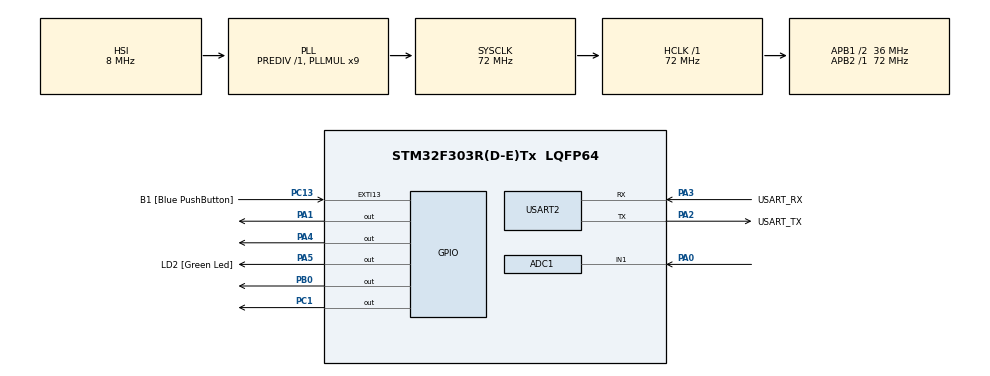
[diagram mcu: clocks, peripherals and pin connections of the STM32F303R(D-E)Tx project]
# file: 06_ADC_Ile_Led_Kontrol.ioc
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ADC1.Channel-1\#ChannelRegularConversion=ADC_CHANNEL_1
ADC1.ClockPrescaler=ADC_CLOCK_SYNC_PCLK_DIV2
ADC1.ContinuousConvMode=ENABLE
ADC1.NbrOfConversionFlag=1
ADC1.Offset-1\#ChannelRegularConversion=0
ADC1.OffsetNumber-1\#ChannelRegularConversion=ADC_OFFSET_NONE
ADC1.Rank-1\#ChannelRegularConversion=1
ADC1.Resolution=ADC_RESOLUTION_8B
ADC1.SamplingTime-1\#ChannelRegularConversion=ADC_SAMPLETIME_4CYCLES_5
ADC1.SamplingTimeOPAMP-1\#ChannelRegularConversion=ADC_SAMPLETIME_61CYCLES_5
ADC1.master=1
Mcu.Family=STM32F3
Mcu.Name=STM32F303R(D-E)Tx
Mcu.Package=LQFP64
NVIC.PriorityGroup=NVIC_PRIORITYGROUP_0
PA0.Mode=IN1-Single-Ended
PA0.Signal=ADC1_IN1
PA1.Signal=GPIO_Output
PA13.GPIO_Label=TMS
PA13.Mode=Serial_Wire
PA13.Signal=SYS_JTMS-SWDIO
PA14.GPIO_Label=TCK
PA14.Mode=Serial_Wire
PA14.Signal=SYS_JTCK-SWCLK
PA2.GPIO_Label=USART_TX
PA2.GPIO_Mode=GPIO_MODE_AF_PP
PA2.GPIO_PuPd=GPIO_NOPULL
PA2.GPIO_Speed=GPIO_SPEED_FREQ_LOW
PA2.Mode=Asynchronous
PA2.Signal=USART2_TX
PA3.GPIO_Label=USART_RX
PA3.GPIO_Mode=GPIO_MODE_AF_PP
PA3.GPIO_PuPd=GPIO_NOPULL
PA3.GPIO_Speed=GPIO_SPEED_FREQ_LOW
PA3.Mode=Asynchronous
PA3.Signal=USART2_RX
PA4.Signal=GPIO_Output
PA5.GPIO_Label=LD2 [Green Led]
PA5.GPIO_Mode=GPIO_MODE_OUTPUT_PP
PA5.GPIO_PuPd=GPIO_NOPULL
PA5.GPIO_Speed=GPIO_SPEED_FREQ_LOW
PA5.Signal=GPIO_Output
PB0.Signal=GPIO_Output
PB3.GPIO_Label=SWO
PB3.Signal=SYS_JTDO-TRACESWO
PC1.Signal=GPIO_Output
PC13.GPIO_Label=B1 [Blue PushButton]
PC13.GPIO_ModeDefaultEXTI=GPIO_MODE_IT_FALLING
PC13.Signal=GPXTI13
PC14-OSC32_IN.Signal=RCC_OSC32_IN
PC15-OSC32_OUT.Signal=RCC_OSC32_OUT
PF0-OSC_IN.Signal=RCC_OSC_IN
PF1-OSC_OUT.Signal=RCC_OSC_OUT
ProjectManager.HeapSize=0x200
ProjectManager.StackSize=0x400
ProjectManager.TargetToolchain=STM32CubeIDE
RCC.AHBFreq_Value=72000000
RCC.APB1CLKDivider=RCC_HCLK_DIV2
RCC.APB1Freq_Value=36000000
RCC.APB1TimFreq_Value=72000000
RCC.APB2Freq_Value=72000000
RCC.APB2TimFreq_Value=72000000
RCC.CortexFreq_Value=72000000
RCC.HCLKFreq_Value=72000000
RCC.HSE_VALUE=8000000
RCC.HSI_VALUE=8000000
RCC.PLLM=8
RCC.PLLMUL=RCC_PLL_MUL9
RCC.PLLN=336
RCC.PLLP=RCC_PLLP_DIV4
RCC.PLLQ=7
RCC.RCC_PLLsource_Clock_Source_FROM_HSE=RCC_HSE_PREDIV_DIV2
RCC.SYSCLKFreq_VALUE=72000000
RCC.SYSCLKSourceVirtual=RCC_SYSCLKSOURCE_PLLCLK
RCC.USBFreq_Value=72000000
USART2.VirtualMode-Asynchronous=VM_ASYNC
board=NUCLEO-F303RE

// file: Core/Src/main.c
/* USER CODE BEGIN Header */
/**
  ******************************************************************************
  * @file           : main.c
  * @brief          : Main program body
  ******************************************************************************
  * @attention
  *
  * Copyright (c) 2026 STMicroelectronics.
  * All rights reserved.
  *
  * This software is licensed under terms that can be found in the LICENSE file
  * in the root directory of this software component.
  * If no LICENSE file comes with this software, it is provided AS-IS.
  *
  ******************************************************************************
  */
/* USER CODE END Header */
#include "main.h"

/* USER CODE BEGIN PD */
#define LED1_PORT GPIOA
#define LED1_PIN  GPIO_PIN_1

#define LED2_PORT GPIOA
#define LED2_PIN  GPIO_PIN_4

#define LED3_PORT GPIOB
#define LED3_PIN  GPIO_PIN_0

#define LED4_PORT GPIOC
#define LED4_PIN  GPIO_PIN_1
/* USER CODE END PD */

ADC_HandleTypeDef hadc1;

UART_HandleTypeDef huart2;

/* USER CODE BEGIN PV */
uint8_t analogValue = 0;
/* USER CODE END PV */

void SystemClock_Config(void);
static void MX_GPIO_Init(void);
static void MX_USART2_UART_Init(void);
static void MX_ADC1_Init(void);

/* USER CODE BEGIN 0 */
uint8_t ReadAdcValue(void)
{
	uint8_t adcValue = 0;
	if(HAL_ADC_Start(&hadc1) == HAL_OK)
	{
		if(HAL_ADC_PollForConversion(&hadc1, 1000) == HAL_OK)
		{
			adcValue = HAL_ADC_GetValue(&hadc1);
		}
		HAL_ADC_Stop(&hadc1);
	}
	return adcValue;
}

void LedOn(uint8_t adcValue)
{
    HAL_GPIO_WritePin(LED1_PORT, LED1_PIN, GPIO_PIN_RESET);
    HAL_GPIO_WritePin(LED2_PORT, LED2_PIN, GPIO_PIN_RESET);
    HAL_GPIO_WritePin(LED3_PORT, LED3_PIN, GPIO_PIN_RESET);
    HAL_GPIO_WritePin(LED4_PORT, LED4_PIN, GPIO_PIN_RESET);

    if(adcValue < 128)
    {
        HAL_GPIO_WritePin(LED1_PORT, LED1_PIN, GPIO_PIN_SET);
        HAL_GPIO_WritePin(LED3_PORT, LED3_PIN, GPIO_PIN_SET);
    }
    else
    {
        HAL_GPIO_WritePin(LED2_PORT, LED2_PIN, GPIO_PIN_SET);
        HAL_GPIO_WritePin(LED4_PORT, LED4_PIN, GPIO_PIN_SET);
    }
}
/* USER CODE END 0 */

int main(void)
{

  /* MCU Configuration--------------------------------------------------------*/

  /* Reset of all peripherals, Initializes the Flash interface and the Systick. */
  HAL_Init();

  /* Configure the system clock */
  SystemClock_Config();

  /* Initialize all configured peripherals */
  MX_GPIO_Init();
  MX_USART2_UART_Init();
  MX_ADC1_Init();

  /* Infinite loop */
  while (1)
  {
	  analogValue = ReadAdcValue();
	  LedOn(analogValue);
  }
}

void SystemClock_Config(void)
{
  RCC_OscInitTypeDef RCC_OscInitStruct = {0};
  RCC_ClkInitTypeDef RCC_ClkInitStruct = {0};
  RCC_PeriphCLKInitTypeDef PeriphClkInit = {0};

  /** Initializes the RCC Oscillators according to the specified parameters
  * in the RCC_OscInitTypeDef structure.
  */
  RCC_OscInitStruct.OscillatorType = RCC_OSCILLATORTYPE_HSI;
  RCC_OscInitStruct.HSIState = RCC_HSI_ON;
  RCC_OscInitStruct.HSICalibrationValue = RCC_HSICALIBRATION_DEFAULT;
  RCC_OscInitStruct.PLL.PLLState = RCC_PLL_ON;
  RCC_OscInitStruct.PLL.PLLSource = RCC_PLLSOURCE_HSI;
  RCC_OscInitStruct.PLL.PLLMUL = RCC_PLL_MUL9;
  RCC_OscInitStruct.PLL.PREDIV = RCC_PREDIV_DIV1;
  if (HAL_RCC_OscConfig(&RCC_OscInitStruct) != HAL_OK)
  {
    Error_Handler();
  }

  /** Initializes the CPU, AHB and APB buses clocks
  */
  RCC_ClkInitStruct.ClockType = RCC_CLOCKTYPE_HCLK|RCC_CLOCKTYPE_SYSCLK
                              |RCC_CLOCKTYPE_PCLK1|RCC_CLOCKTYPE_PCLK2;
  RCC_ClkInitStruct.SYSCLKSource = RCC_SYSCLKSOURCE_PLLCLK;
  RCC_ClkInitStruct.AHBCLKDivider = RCC_SYSCLK_DIV1;
  RCC_ClkInitStruct.APB1CLKDivider = RCC_HCLK_DIV2;
  RCC_ClkInitStruct.APB2CLKDivider = RCC_HCLK_DIV1;

  if (HAL_RCC_ClockConfig(&RCC_ClkInitStruct, FLASH_LATENCY_2) != HAL_OK)
  {
    Error_Handler();
  }
  PeriphClkInit.PeriphClockSelection = RCC_PERIPHCLK_USART2;
  PeriphClkInit.Usart2ClockSelection = RCC_USART2CLKSOURCE_PCLK1;
  if (HAL_RCCEx_PeriphCLKConfig(&PeriphClkInit) != HAL_OK)
  {
    Error_Handler();
  }
}

static void MX_ADC1_Init(void)
{

  ADC_MultiModeTypeDef multimode = {0};
  ADC_ChannelConfTypeDef sConfig = {0};

  /** Common config
  */
  hadc1.Instance = ADC1;
  hadc1.Init.ClockPrescaler = ADC_CLOCK_SYNC_PCLK_DIV2;
  hadc1.Init.Resolution = ADC_RESOLUTION_8B;
  hadc1.Init.ScanConvMode = ADC_SCAN_DISABLE;
  hadc1.Init.ContinuousConvMode = ENABLE;
  hadc1.Init.DiscontinuousConvMode = DISABLE;
  hadc1.Init.ExternalTrigConvEdge = ADC_EXTERNALTRIGCONVEDGE_NONE;
  hadc1.Init.ExternalTrigConv = ADC_SOFTWARE_START;
  hadc1.Init.DataAlign = ADC_DATAALIGN_RIGHT;
  hadc1.Init.NbrOfConversion = 1;
  hadc1.Init.DMAContinuousRequests = DISABLE;
  hadc1.Init.EOCSelection = ADC_EOC_SINGLE_CONV;
  hadc1.Init.LowPowerAutoWait = DISABLE;
  hadc1.Init.Overrun = ADC_OVR_DATA_OVERWRITTEN;
  if (HAL_ADC_Init(&hadc1) != HAL_OK)
  {
    Error_Handler();
  }

  /** Configure the ADC multi-mode
  */
  multimode.Mode = ADC_MODE_INDEPENDENT;
  if (HAL_ADCEx_MultiModeConfigChannel(&hadc1, &multimode) != HAL_OK)
  {
    Error_Handler();
  }

  /** Configure Regular Channel
  */
  sConfig.Channel = ADC_CHANNEL_1;
  sConfig.Rank = ADC_REGULAR_RANK_1;
  sConfig.SingleDiff = ADC_SINGLE_ENDED;
  sConfig.SamplingTime = ADC_SAMPLETIME_4CYCLES_5;
  sConfig.OffsetNumber = ADC_OFFSET_NONE;
  sConfig.Offset = 0;
  if (HAL_ADC_ConfigChannel(&hadc1, &sConfig) != HAL_OK)
  {
    Error_Handler();
  }

}

static void MX_USART2_UART_Init(void)
{

  huart2.Instance = USART2;
  huart2.Init.BaudRate = 38400;
  huart2.Init.WordLength = UART_WORDLENGTH_8B;
  huart2.Init.StopBits = UART_STOPBITS_1;
  huart2.Init.Parity = UART_PARITY_NONE;
  huart2.Init.Mode = UART_MODE_TX_RX;
  huart2.Init.HwFlowCtl = UART_HWCONTROL_NONE;
  huart2.Init.OverSampling = UART_OVERSAMPLING_16;
  huart2.Init.OneBitSampling = UART_ONE_BIT_SAMPLE_DISABLE;
  huart2.AdvancedInit.AdvFeatureInit = UART_ADVFEATURE_NO_INIT;
  if (HAL_UART_Init(&huart2) != HAL_OK)
  {
    Error_Handler();
  }

}

static void MX_GPIO_Init(void)
{
  GPIO_InitTypeDef GPIO_InitStruct = {0};

  /* GPIO Ports Clock Enable */
  __HAL_RCC_GPIOC_CLK_ENABLE();
  __HAL_RCC_GPIOF_CLK_ENABLE();
  __HAL_RCC_GPIOA_CLK_ENABLE();
  __HAL_RCC_GPIOB_CLK_ENABLE();

  /*Configure GPIO pin Output Level */
  HAL_GPIO_WritePin(GPIOC, GPIO_PIN_1, GPIO_PIN_RESET);

  /*Configure GPIO pin Output Level */
  HAL_GPIO_WritePin(GPIOA, GPIO_PIN_1|GPIO_PIN_4|LD2_Pin, GPIO_PIN_RESET);

  /*Configure GPIO pin Output Level */
  HAL_GPIO_WritePin(GPIOB, GPIO_PIN_0, GPIO_PIN_RESET);

  /*Configure GPIO pin : B1_Pin */
  GPIO_InitStruct.Pin = B1_Pin;
  GPIO_InitStruct.Mode = GPIO_MODE_IT_FALLING;
  GPIO_InitStruct.Pull = GPIO_NOPULL;
  HAL_GPIO_Init(B1_GPIO_Port, &GPIO_InitStruct);

  /*Configure GPIO pin : PC1 */
  GPIO_InitStruct.Pin = GPIO_PIN_1;
  GPIO_InitStruct.Mode = GPIO_MODE_OUTPUT_PP;
  GPIO_InitStruct.Pull = GPIO_NOPULL;
  GPIO_InitStruct.Speed = GPIO_SPEED_FREQ_LOW;
  HAL_GPIO_Init(GPIOC, &GPIO_InitStruct);

  /*Configure GPIO pins : PA1 PA4 LD2_Pin */
  GPIO_InitStruct.Pin = GPIO_PIN_1|GPIO_PIN_4|LD2_Pin;
  GPIO_InitStruct.Mode = GPIO_MODE_OUTPUT_PP;
  GPIO_InitStruct.Pull = GPIO_NOPULL;
  GPIO_InitStruct.Speed = GPIO_SPEED_FREQ_LOW;
  HAL_GPIO_Init(GPIOA, &GPIO_InitStruct);

  /*Configure GPIO pin : PB0 */
  GPIO_InitStruct.Pin = GPIO_PIN_0;
  GPIO_InitStruct.Mode = GPIO_MODE_OUTPUT_PP;
  GPIO_InitStruct.Pull = GPIO_NOPULL;
  GPIO_InitStruct.Speed = GPIO_SPEED_FREQ_LOW;
  HAL_GPIO_Init(GPIOB, &GPIO_InitStruct);

}

void Error_Handler(void)
{
  __disable_irq();
  while (1)
  {
  }
}
